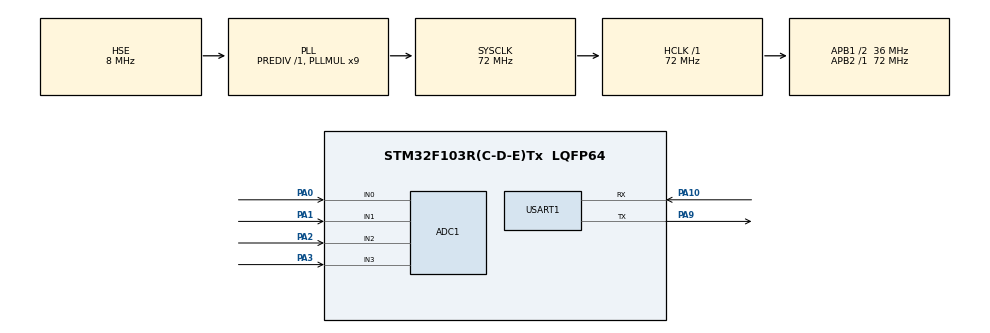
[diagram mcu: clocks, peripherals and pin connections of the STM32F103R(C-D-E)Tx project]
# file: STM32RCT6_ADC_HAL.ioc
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ADC1.Channel-0\#ChannelRegularConversion=ADC_CHANNEL_0
ADC1.Channel-10\#ChannelRegularConversion=ADC_CHANNEL_3
ADC1.Channel-8\#ChannelRegularConversion=ADC_CHANNEL_1
ADC1.Channel-9\#ChannelRegularConversion=ADC_CHANNEL_2
ADC1.ContinuousConvMode=ENABLE
ADC1.DiscontinuousConvMode=DISABLE
ADC1.EnableInjectedConversion=DISABLE
ADC1.InjNumberOfConversion=1
ADC1.NbrOfConversion=4
ADC1.NbrOfConversionFlag=1
ADC1.Rank-0\#ChannelRegularConversion=1
ADC1.Rank-10\#ChannelRegularConversion=4
ADC1.Rank-8\#ChannelRegularConversion=2
ADC1.Rank-9\#ChannelRegularConversion=3
ADC1.SamplingTime-0\#ChannelRegularConversion=ADC_SAMPLETIME_239CYCLES_5
ADC1.SamplingTime-10\#ChannelRegularConversion=ADC_SAMPLETIME_239CYCLES_5
ADC1.SamplingTime-8\#ChannelRegularConversion=ADC_SAMPLETIME_239CYCLES_5
ADC1.SamplingTime-9\#ChannelRegularConversion=ADC_SAMPLETIME_239CYCLES_5
ADC1.master=1
Dma.ADC1.0.Direction=DMA_PERIPH_TO_MEMORY
Dma.ADC1.0.Instance=DMA1_Channel1
Dma.ADC1.0.MemDataAlignment=DMA_MDATAALIGN_HALFWORD
Dma.ADC1.0.MemInc=DMA_MINC_ENABLE
Dma.ADC1.0.Mode=DMA_CIRCULAR
Dma.ADC1.0.PeriphDataAlignment=DMA_PDATAALIGN_HALFWORD
Dma.ADC1.0.PeriphInc=DMA_PINC_DISABLE
Dma.ADC1.0.Priority=DMA_PRIORITY_LOW
Dma.Request0=ADC1
Mcu.Family=STM32F1
Mcu.Name=STM32F103R(C-D-E)Tx
Mcu.Package=LQFP64
NVIC.ADC1_2_IRQn=true\:2\:0\:true\:false\:true\:true\:true\:true
NVIC.DMA1_Channel1_IRQn=true\:0\:0\:false\:false\:true\:false\:true\:true
NVIC.PriorityGroup=NVIC_PRIORITYGROUP_4
NVIC.USART1_IRQn=true\:0\:0\:false\:false\:true\:true\:true\:true
PA0-WKUP.Signal=ADCx_IN0
PA1.Signal=ADCx_IN1
PA10.Mode=Asynchronous
PA10.Signal=USART1_RX
PA13.Mode=Serial_Wire
PA13.Signal=SYS_JTMS-SWDIO
PA14.Mode=Serial_Wire
PA14.Signal=SYS_JTCK-SWCLK
PA2.Signal=ADCx_IN2
PA3.Signal=ADCx_IN3
PA9.Mode=Asynchronous
PA9.Signal=USART1_TX
PD0-OSC_IN.Mode=HSE-External-Oscillator
PD0-OSC_IN.Signal=RCC_OSC_IN
PD1-OSC_OUT.Mode=HSE-External-Oscillator
PD1-OSC_OUT.Signal=RCC_OSC_OUT
ProjectManager.HeapSize=0x200
ProjectManager.StackSize=0x400
ProjectManager.TargetToolchain=MDK-ARM V5
RCC.ADCPresc=RCC_ADCPCLK2_DIV6
RCC.AHBFreq_Value=72000000
RCC.APB1CLKDivider=RCC_HCLK_DIV2
RCC.APB1Freq_Value=36000000
RCC.APB1TimFreq_Value=72000000
RCC.APB2Freq_Value=72000000
RCC.APB2TimFreq_Value=72000000
RCC.HCLKFreq_Value=72000000
RCC.PLLMUL=RCC_PLL_MUL9
RCC.PLLSourceVirtual=RCC_PLLSOURCE_HSE
RCC.SYSCLKFreq_VALUE=72000000
RCC.SYSCLKSource=RCC_SYSCLKSOURCE_PLLCLK
RCC.USBFreq_Value=72000000
SH.ADCx_IN0.0=ADC1_IN0,IN0
SH.ADCx_IN1.0=ADC1_IN1,IN1
SH.ADCx_IN2.0=ADC1_IN2,IN2
SH.ADCx_IN3.0=ADC1_IN3,IN3
USART1.VirtualMode=VM_ASYNC
board=custom

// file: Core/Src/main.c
/* USER CODE BEGIN Header */
/**
  ******************************************************************************
  * @file           : main.c
  * @brief          : Main program body
  ******************************************************************************
  * @attention
  *
  * Copyright (c) 2024 STMicroelectronics.
  * All rights reserved.
  *
  * This software is licensed under terms that can be found in the LICENSE file
  * in the root directory of this software component.
  * If no LICENSE file comes with this software, it is provided AS-IS.
  *
  ******************************************************************************
  */
/* USER CODE END Header */
#include "main.h"
#include "adc.h"
#include "dma.h"
#include "usart.h"
#include "gpio.h"

/* USER CODE BEGIN Includes */
#include <stdio.h>
#include "stm32f1xx_hal.h"
#include "SEGGER_RTT.h"
/* USER CODE END Includes */

/* USER CODE BEGIN PTD */
volatile uint16_t ADC_buffer[4]={0};

/* USER CODE END PTD */

void SystemClock_Config(void);

/* USER CODE BEGIN 0 */
int fputc(int ch, FILE *f)
{
	HAL_UART_Transmit(&huart1, (uint8_t *)&ch, 1, 1000);
	return (ch);
}
/* USER CODE END 0 */

int main(void)
{

  /* MCU Configuration--------------------------------------------------------*/

  /* Reset of all peripherals, Initializes the Flash interface and the Systick. */
  HAL_Init();

  /* Configure the system clock */
  SystemClock_Config();

  /* Initialize all configured peripherals */
  MX_GPIO_Init();
  MX_DMA_Init();
  MX_ADC1_Init();
  MX_USART1_UART_Init();
  /* USER CODE BEGIN 2 */
    HAL_ADCEx_Calibration_Start(&hadc1);
    HAL_Delay(200);
    HAL_ADC_Start_DMA(&hadc1,(uint32_t*)ADC_buffer,4);

  /* USER CODE END 2 */

  /* Infinite loop */
  /* USER CODE BEGIN WHILE */
  while (1)
  {
    for(int i = 0; i < 4; i++)
    {
        printf("ADCbuffer%d: %d \r\n", i, ADC_buffer[i]);
        HAL_Delay(100);
        printf("ADCValue%d:  %f \r\n", i, (ADC_buffer[i]) * 3.3 / 4095);
        HAL_Delay(100);
        SEGGER_RTT_WriteString(0, "Hello World from SEGGER!666\r\n");
    }

    /* USER CODE END WHILE */

  }
}

void SystemClock_Config(void)
{
  RCC_OscInitTypeDef RCC_OscInitStruct = {0};
  RCC_ClkInitTypeDef RCC_ClkInitStruct = {0};
  RCC_PeriphCLKInitTypeDef PeriphClkInit = {0};

  /** Initializes the RCC Oscillators according to the specified parameters
  * in the RCC_OscInitTypeDef structure.
  */
  RCC_OscInitStruct.OscillatorType = RCC_OSCILLATORTYPE_HSE;
  RCC_OscInitStruct.HSEState = RCC_HSE_ON;
  RCC_OscInitStruct.HSEPredivValue = RCC_HSE_PREDIV_DIV1;
  RCC_OscInitStruct.HSIState = RCC_HSI_ON;
  RCC_OscInitStruct.PLL.PLLState = RCC_PLL_ON;
  RCC_OscInitStruct.PLL.PLLSource = RCC_PLLSOURCE_HSE;
  RCC_OscInitStruct.PLL.PLLMUL = RCC_PLL_MUL9;
  if (HAL_RCC_OscConfig(&RCC_OscInitStruct) != HAL_OK)
  {
    Error_Handler();
  }

  /** Initializes the CPU, AHB and APB buses clocks
  */
  RCC_ClkInitStruct.ClockType = RCC_CLOCKTYPE_HCLK|RCC_CLOCKTYPE_SYSCLK
                              |RCC_CLOCKTYPE_PCLK1|RCC_CLOCKTYPE_PCLK2;
  RCC_ClkInitStruct.SYSCLKSource = RCC_SYSCLKSOURCE_PLLCLK;
  RCC_ClkInitStruct.AHBCLKDivider = RCC_SYSCLK_DIV1;
  RCC_ClkInitStruct.APB1CLKDivider = RCC_HCLK_DIV2;
  RCC_ClkInitStruct.APB2CLKDivider = RCC_HCLK_DIV1;

  if (HAL_RCC_ClockConfig(&RCC_ClkInitStruct, FLASH_LATENCY_2) != HAL_OK)
  {
    Error_Handler();
  }
  PeriphClkInit.PeriphClockSelection = RCC_PERIPHCLK_ADC;
  PeriphClkInit.AdcClockSelection = RCC_ADCPCLK2_DIV6;
  if (HAL_RCCEx_PeriphCLKConfig(&PeriphClkInit) != HAL_OK)
  {
    Error_Handler();
  }
}

void Error_Handler(void)
{
  __disable_irq();
  while (1)
  {
  }
}
